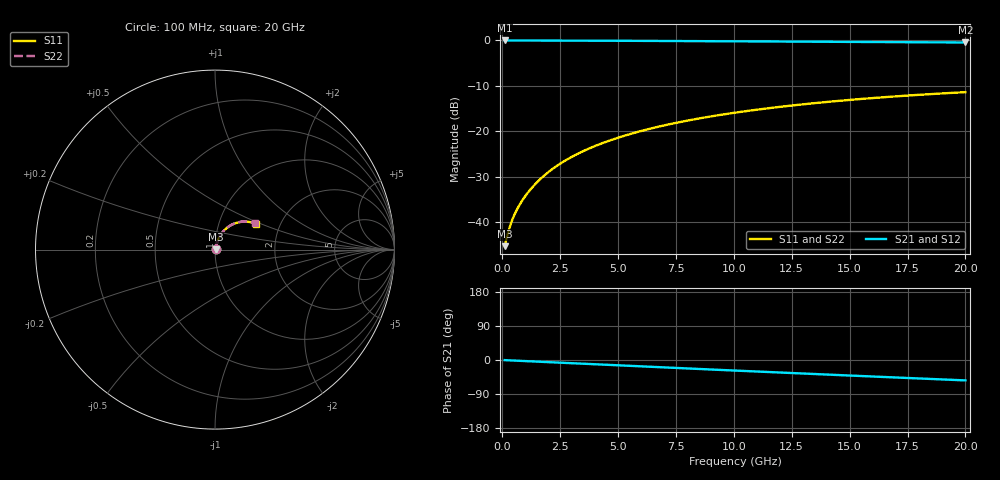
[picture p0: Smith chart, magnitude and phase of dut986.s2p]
! Touchstone file exported from HFSS 2026.1.0
!  File:  C:/ffzhzh/LocalFiles/Ansys_Project_Files/temp_train_BSMRDL_986_1783172842_55132.aedt
!  Generated:  09:48:31 PM Jul  4, 2026
!  Design:  BSMRDL
!  Project:  temp_train_BSMRDL_986_1783172842_55132
! Variables:
!  h_bsmrdl = 2.97um
!  h_ox = 20um
!  h_rdl = 5um
!  h_sub = 80um
!  h_tmrdl = 5um
!  h_tsv = 80um
!  h_via = 3um
!  l_bsmrdl = 914.1um
!  l_sub = 1314.1um
!  l_tmrdl = 200um
!  m_sub = 200um
!  pitch = 34.09um
!  r_tsv = 6um
!  s_tmrdl = 10um
!  w_bsmrdl = 23.21um
!  w_sub = 500um
!  w_tmrdl = 12um
!  x_tsv_center1 = 206um
!  x_tsv_center2 = 1143.31um
!  x_tsv_center3 = 1355.31um
!  x_tsv_center4 = 2292.62um
!  x_tsv_center5 = 2504.62um
!  x_tsv_center6 = 3441.93um
# GHz S MA R 50.000000
! Terminal data exported
! Port[1] = BSM_RDL1_1_T1
! Port[2] = BSM_RDL1_1_T2
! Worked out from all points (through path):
!   200 points, 100 MHz to 20 GHz, reference 50 ohm
!   highest |S21| = -0.04 dB at 100 MHz (marker M1); lowest = -0.5 dB at 20 GHz (marker M2)
!   group delay of S21, straight-line fit = 7.47 ps
!   lowest |S11| = -45.3 dB at 100 MHz (marker M3), VSWR 1.01, Z = 50.5 + j0.227 ohm
!   |S11| at or under -10 dB: start of sweep to end of sweep
!   |S22| runs from -45.3 to -11.4 dB; largest |S21 - S12| = 3.3e-15
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0.1  0.005443 24.4  0.9951 -0.3  0.9951 -0.3  0.005443 24.4
! Gamma 0 0 0 0
! Port Impedance 50 0 50 0
0.3  0.008489 47.5  0.9943 -0.9  0.9943 -0.9  0.008488 47.5
0.4  0.01011 52.6  0.994 -1.2  0.994 -1.2  0.01011 52.6
0.5  0.01169 56.1  0.9937 -1.5  0.9937 -1.5  0.01169 56.1
0.6  0.01324 58.9  0.9935 -1.8  0.9935 -1.8  0.01324 58.9
0.8  0.01633 63.0  0.9931 -2.3  0.9931 -2.3  0.01633 63.0
1  0.01946 66.0  0.9929 -2.9  0.9929 -2.9  0.01945 66.0
1.2  0.02263 68.1  0.9926 -3.4  0.9926 -3.4  0.02262 68.1
1.7  0.03073 71.1  0.9922 -4.8  0.9922 -4.8  0.03072 71.2
2.2  0.03897 72.4  0.9916 -6.3  0.9916 -6.3  0.03896 72.4
2.8  0.0489 72.6  0.9909 -7.9  0.9909 -7.9  0.04889 72.7
3.5  0.06046 72.1  0.9898 -9.9  0.9898 -9.9  0.06045 72.2
4.2  0.07192 71.1  0.9886 -11.9  0.9886 -11.9  0.0719 71.2
5  0.08483 69.5  0.987 -14.1  0.987 -14.1  0.08481 69.6
5.9  0.09906 67.5  0.985 -16.6  0.985 -16.6  0.09904 67.7
6.8  0.1129 65.4  0.9828 -19.1  0.9828 -19.1  0.1129 65.6
8.3  0.1352 61.7  0.9788 -23.2  0.9788 -23.2  0.1352 61.9
10.1  0.1605 57.2  0.9737 -28.0  0.9737 -28.0  0.1605 57.4
11.7  0.1816 53.1  0.969 -32.3  0.969 -32.3  0.1815 53.4
13.4  0.2026 48.8  0.9639 -36.8  0.9639 -36.8  0.2025 49.1
16.7  0.2387 40.5  0.9542 -45.4  0.9542 -45.4  0.2386 41.0
20  0.2688 32.4  0.9452 -53.9  0.9452 -53.9  0.2686 32.9
